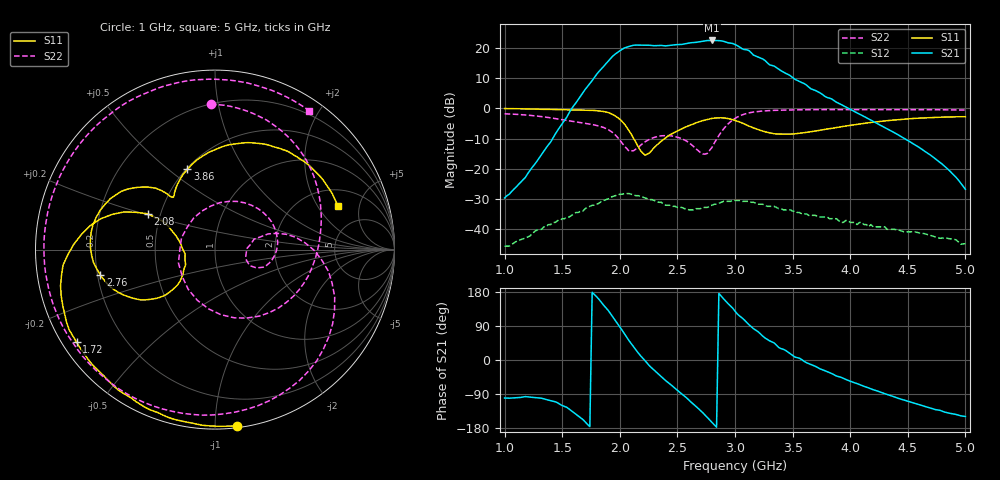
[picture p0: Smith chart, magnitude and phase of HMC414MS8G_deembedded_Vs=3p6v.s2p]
!Hittite Microwave Corporation
!12 Elizabeth Drive
!Chelmsford, MA 01824
!Tel: 978-250-3343
!Fax: 978-250-3373
!Device: HMC414MS8G, 2.2-2.8 GHz GaAs InGap HBT MMIC Power Amplifier in 8-lead Grounded Base surface Mount Plastic Package
!Misc: Input reference is the input pin of the device, output reference is the last component on output line, Vs=5V, Vpd=3.6V, Room
# MHZ S MA R 50
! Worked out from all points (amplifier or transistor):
!   201 points, 1 GHz to 5 GHz, reference 50 ohm
!   highest |S21| = 22.4 dB at 2.8 GHz (marker M1)
!   |S21| within 3 dB of that: 2.017 GHz to 3.08 GHz (1.063 GHz wide, 41.7 % of centre)
!   unconditionally stable (mu >= 1): start of sweep to 1.659 GHz; 2.047 GHz to 2.751 GHz; 3.492 GHz to end of sweep
!   at 1.66 GHz: K = 0.99, MSG = 19.0 dB, |S12| = -34.0 dB
!   at 3 GHz: K = 0.68, MSG = 25.8 dB, |S12| = -30.5 dB
!   at 5 GHz: K = 111.28, MAG = -14.5 dB, |S12| = -44.7 dB
!   S11 on the Smith chart (normalised r, x): 1 GHz: 0.01, -1.14; 1.72 GHz: 0.04, -0.30; 2.08 GHz: 0.42, +0.21; 2.76 GHz: 0.21, -0.11; 3.86 GHz: 0.51, +0.58; 5 GHz: 2.99, +3.06
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1000  0.99 -82.7  0.033 -100.3  0.005274 125.8  0.811 91.6
1680  0.931 -141.6  1.814 -157.1  0.02 62.8  0.571 -0.4
1720  0.928 -146.2  2.3 -170.0  0.023 58.2  0.555 -7.7
1920  0.819 -178.1  6.655 122.0  0.034 27.8  0.42 -65.3
2020  0.605 161.1  9.438 78.6  0.038 4.5  0.267 -123.9
2080  0.425 152.0  10.52 51.0  0.039 -9.0  0.196 -179.4
2200  0.181 178.6  11.06 4.6  0.034 -31.5  0.263 84.2
2340  0.266 -137.7  10.95 -38.2  0.028 -48.6  0.346 31.7
2480  0.405 -139.0  11.21 -74.9  0.024 -58.6  0.341 -1.8
2580  0.499 -145.8  11.77 -100.0  0.022 -59.4  0.287 -19.9
2680  0.591 -156.4  12.46 -127.5  0.022 -60.3  0.2 -22.2
2760  0.654 -167.4  13.17 -151.7  0.023 -60.9  0.18 2.7
2800  0.681 -174.0  13.2 -164.9  0.025 -65.2  0.225 14.9
2880  0.697 172.1  13.02 168.7  0.028 -72.2  0.404 12.3
3000  0.631 151.1  11.31 129.1  0.03 -88.7  0.68 -16.2
3120  0.51 136.9  9.028 93.5  0.029 -107.0  0.84 -47.6
3260  0.41 130.7  6.177 58.2  0.025 -122.0  0.907 -78.7
3520  0.379 126.9  3.018 7.8  0.02 -143.6  0.943 -125.2
3680  0.416 120.5  2.027 -14.6  0.017 -151.3  0.949 -149.8
3860  0.473 108.9  1.342 -39.0  0.015 -160.9  0.953 -174.9
4340  0.63 70.8  0.437 -92.8  0.01 175.0  0.955 126.8
5000  0.726 19.5  0.046 -149.1  0.0058 150.9  0.935 55.9
